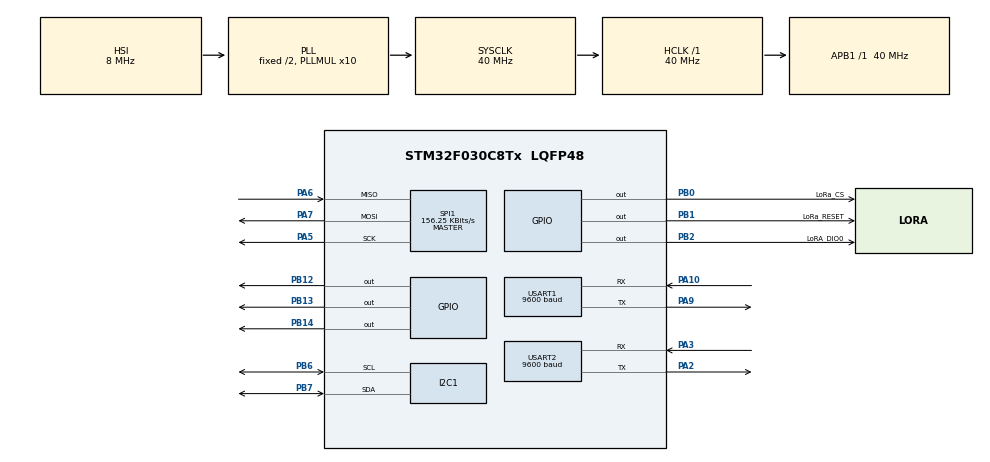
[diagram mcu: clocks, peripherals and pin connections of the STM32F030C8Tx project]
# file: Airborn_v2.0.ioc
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Dma.Request0=USART1_RX
Dma.USART1_RX.0.Direction=DMA_PERIPH_TO_MEMORY
Dma.USART1_RX.0.Instance=DMA1_Channel3
Dma.USART1_RX.0.MemDataAlignment=DMA_MDATAALIGN_BYTE
Dma.USART1_RX.0.MemInc=DMA_MINC_ENABLE
Dma.USART1_RX.0.Mode=DMA_NORMAL
Dma.USART1_RX.0.PeriphDataAlignment=DMA_PDATAALIGN_BYTE
Dma.USART1_RX.0.PeriphInc=DMA_PINC_DISABLE
Dma.USART1_RX.0.Priority=DMA_PRIORITY_LOW
IWDG.Prescaler=IWDG_PRESCALER_128
IWDG.Reload=2300
IWDG.Window=2300
Mcu.Family=STM32F0
Mcu.Name=STM32F030C8Tx
Mcu.Package=LQFP48
NVIC.DMA1_Channel2_3_IRQn=true\:0\:0\:false\:false\:true\:false\:true
NVIC.I2C1_IRQn=true\:0\:0\:false\:false\:true\:true\:true
NVIC.USART1_IRQn=true\:0\:0\:false\:false\:true\:true\:true
PA10.Mode=Asynchronous
PA10.Signal=USART1_RX
PA13.Mode=Serial_Wire
PA13.Signal=SYS_SWDIO
PA14.Mode=Serial_Wire
PA14.Signal=SYS_SWCLK
PA2.Mode=Asynchronous
PA2.Signal=USART2_TX
PA3.Mode=Asynchronous
PA3.Signal=USART2_RX
PA5.Mode=Full_Duplex_Master
PA5.Signal=SPI1_SCK
PA6.Mode=Full_Duplex_Master
PA6.Signal=SPI1_MISO
PA7.Mode=Full_Duplex_Master
PA7.Signal=SPI1_MOSI
PA9.Mode=Asynchronous
PA9.Signal=USART1_TX
PB0.GPIO_Label=LoRa_CS
PB0.Signal=GPIO_Output
PB1.GPIO_Label=LoRa_RESET
PB1.Signal=GPIO_Output
PB12.Signal=GPIO_Output
PB13.Signal=GPIO_Output
PB14.Signal=GPIO_Output
PB2.GPIO_Label=LoRA_DIO0
PB2.Signal=GPIO_Output
PB6.Mode=I2C
PB6.Signal=I2C1_SCL
PB7.Mode=I2C
PB7.Signal=I2C1_SDA
ProjectManager.HeapSize=0x200
ProjectManager.StackSize=0x400
ProjectManager.TargetToolchain=SW4STM32
RCC.AHBFreq_Value=40000000
RCC.APB1Freq_Value=40000000
RCC.APB1TimFreq_Value=40000000
RCC.HCLKFreq_Value=40000000
RCC.PLLMUL=RCC_PLL_MUL10
RCC.SYSCLKFreq_VALUE=40000000
RCC.SYSCLKSource=RCC_SYSCLKSOURCE_PLLCLK
SPI1.BaudRatePrescaler=SPI_BAUDRATEPRESCALER_256
SPI1.CalculateBaudRate=156.25 KBits/s
SPI1.DataSize=SPI_DATASIZE_8BIT
SPI1.Direction=SPI_DIRECTION_2LINES
SPI1.Mode=SPI_MODE_MASTER
SPI1.VirtualType=VM_MASTER
USART1.BaudRate=9600
USART1.VirtualMode-Asynchronous=VM_ASYNC
USART2.BaudRate=9600
USART2.VirtualMode-Asynchronous=VM_ASYNC
VP_IWDG_VS_IWDG.Mode=IWDG_Activate
board=custom

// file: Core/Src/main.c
/* USER CODE BEGIN Header */
/**
  ******************************************************************************
  * @file           : main.c
  * @brief          : Main program body
  ******************************************************************************
  * @attention
  *
  * <h2><center>&copy; Copyright (c) 2022 STMicroelectronics.
  * All rights reserved.</center></h2>
  *
  * This software component is licensed by ST under BSD 3-Clause license,
  * the "License"; You may not use this file except in compliance with the
  * License. You may obtain a copy of the License at:
  *                        opensource.org/licenses/BSD-3-Clause
  *
  ******************************************************************************
  */
/* USER CODE END Header */
#include "main.h"

/* USER CODE BEGIN Includes */
#include "string.h"
#include "stdio.h"
#include "Sx1278.h"
/* USER CODE END Includes */

/* USER CODE BEGIN PTD */
 uint8_t flag = 0;

 void HAL_UART_RxCpltCallback(UART_HandleTypeDef *huart) {

 	flag = 1;

 }

 int nmea0183_checksum(char *msg) {

 	int checksum = 0;
 	int j = 0;

 	// the first $ sign and the last two bytes of original CRC + the * sign
 	for (j = 1; j < strlen(msg) - 4; j++) {
 		checksum = checksum ^ (unsigned) msg[j];
 	}

 	return checksum;
 }
/* USER CODE END PTD */

I2C_HandleTypeDef hi2c1;

IWDG_HandleTypeDef hiwdg;

SPI_HandleTypeDef hspi1;

UART_HandleTypeDef huart1;
UART_HandleTypeDef huart2;
DMA_HandleTypeDef hdma_usart1_rx;

void SystemClock_Config(void);
static void MX_GPIO_Init(void);
static void MX_DMA_Init(void);
static void MX_I2C1_Init(void);
static void MX_SPI1_Init(void);
static void MX_USART1_UART_Init(void);
static void MX_USART2_UART_Init(void);
static void MX_IWDG_Init(void);

int main(void)
{

  /* MCU Configuration--------------------------------------------------------*/

  /* Reset of all peripherals, Initializes the Flash interface and the Systick. */
  HAL_Init();

  /* Configure the system clock */
  SystemClock_Config();

  /* Initialize all configured peripherals */
  MX_GPIO_Init();
  MX_DMA_Init();
  MX_I2C1_Init();
  MX_SPI1_Init();
  MX_USART1_UART_Init();
  MX_USART2_UART_Init();
  MX_IWDG_Init();
  /* USER CODE BEGIN 2 */

  char sendLora[19];

	uint8_t buff[255];
	uint8_t bufI2c[2] = {0xFF, 0xFF};

	char buffStr[255];
	char nmeaSnt[80];

	char *rawSum;
	char smNmbr[3];

	// The Equator has a latitude of 0°,
	//the North Pole has a latitude of 90° North (written 90° N or +90°),
	//and the South Pole has a latitude of 90° South (written 90° S or −90°)

	char *latRaw;
	char latDg[2];
	char latMS[7];
	char *hemNS;

	// longitude in degrees (0° at the Prime Meridian to +180° eastward and −180° westward)
	// that is why 3
	char *lonRaw;
	char lonDg[3];
	char lonMS[7];
	char *hemEW;

	char *utcRaw; // raw UTC time from the NMEA sentence in the hhmmss format
	char strUTC[8]; // UTC time in the readable hh:mm:ss format

	char hH[2]; // hours
	char mM[2]; // minutes
	char sS[2]; // seconds

	uint8_t cnt = 0;

		  HAL_GPIO_WritePin(GPIOB, GPIO_PIN_12, 1);
  /* USER CODE END 2 */

  /* Infinite loop */
  /* USER CODE BEGIN WHILE */
  while (1)
  {
	 // HAL_I2C_Slave_Receive_IT(&hi2c1,bufI2c, 10);
	  HAL_UART_Receive_DMA(&huart1, buff, 255);
		  if (flag == 1) { // interrupt signals that the buffer buff[300] is full

				memset(buffStr, 0, 255);

				sprintf(buffStr, "%s", buff);

				// if we want to display the incoming raw data
				//HAL_UART_Transmit(&huart2, buff, 255, 70);

				// splitting the buffStr by the "\n" delimiter with the strsep() C function
				// see http://www.manpagez.com/man/3/strsep/
				char *token, *string;

				string = strdup(buffStr);

				// actually splitting the string by "\n" delimiter
				while ((token = strsep(&string, "\n")) != NULL) {

					memset(nmeaSnt, 0, 80);

					sprintf(nmeaSnt, "%s", token);

					// selecting only $GNGLL sentences, combined GPS and GLONASS
					// on my GPS sensor this good NMEA sentence is always 50 characters
					if ((strstr(nmeaSnt, "$GNGLL") != 0)) {

						rawSum = strstr(nmeaSnt, "*");

						memcpy(smNmbr, &rawSum[1], 2);

						smNmbr[2] = '\0';

						uint8_t intSum = nmea0183_checksum(nmeaSnt);

						char hex[2];

						// "%X" unsigned hexadecimal integer (capital letters)
						sprintf(hex, "%X", intSum);

						// checksum data verification, if OK, then we can really trust
						// the data in the the NMEA sentence
						if (strstr(smNmbr, hex) != NULL) {

							//if we want display good $GNGLL NMEA sentences
						//	HAL_UART_Transmit(&huart2, nmeaSnt, 50, 70);
						//	HAL_UART_Transmit(&huart2, (uint8_t*) "\r", 1, 200);
						//	HAL_UART_Transmit(&huart2, (uint8_t*) "\n", 1, 200);

							cnt = 0;

							// splitting the good NMEA sentence into the tokens by the comma delimiter
							for (char *pV = strtok(nmeaSnt, ","); pV != NULL; pV = strtok(NULL, ",")) {

								switch (cnt) {
								case 1:
									latRaw = strdup(pV);
									break;
								case 2:
									hemNS = strdup(pV);
									break;
								case 3:
									lonRaw = strdup(pV);
									break;
								case 4:
									hemEW = strdup(pV);
									break;
								case 5:
									utcRaw = strdup(pV);
									break;
								}

								cnt++;

							}  // end for()

							memcpy(latDg, &latRaw[0], 2);
							latDg[2] = '\0';

							memcpy(latMS, &latRaw[2], 7);
							latMS[7] = '\0';

							memcpy(lonDg, &lonRaw[0], 3);
							lonDg[3] = '\0';

							memcpy(lonMS, &lonRaw[3], 7);
							lonMS[7] = '\0';
							char strLonMS[7];
							sprintf(strLonMS, "%s", lonMS);

							HAL_UART_Transmit(&huart2, (uint8_t*) latDg, 2, 200);

							HAL_UART_Transmit(&huart2, (uint8_t*) latMS, 7, 200);

							HAL_UART_Transmit(&huart2, (uint8_t*) " ", 1, 200);
							HAL_UART_Transmit(&huart2, (uint8_t*) lonDg, 3, 200);

							HAL_UART_Transmit(&huart2, (uint8_t*) strLonMS, 7, 200);

							HAL_UART_Transmit(&huart2, (uint8_t*) "\r", 1, 200);
							HAL_UART_Transmit(&huart2, (uint8_t*) "\n", 1, 200);

						sendLora[0] = latDg[0];
						sendLora[1] = latDg[1];
						sendLora[2] = latMS[0];
						sendLora[3] = latMS[1];
						sendLora[4] = latMS[2];
						sendLora[5] = latMS[3];
						sendLora[6] = latMS[4];
						sendLora[7] = latMS[5];
						sendLora[8] = latMS[6];
						sendLora[9] = lonDg[0];
						sendLora[10] = lonDg[1];
						sendLora[11] = lonDg[2];
						sendLora[12] = strLonMS[0];
						sendLora[13] = strLonMS[1];
						sendLora[14] = strLonMS[2];
						sendLora[15] = strLonMS[3];
						sendLora[16] = strLonMS[4];
						sendLora[17] = strLonMS[5];
						sendLora[18] = strLonMS[6];

						} // end of of the checksum data verification

					} // end of $GNGLL sentences selection

				} // end of splitting the buffStr by the "\n" delimiter with the strsep() C function

				flag = 0; // we are ready to get new data from the sensor

			} // end of one interrupt/full-buffer cycle

									initTx(19);
									LoRaTransmit((uint8_t*) sendLora, 19);

			HAL_Delay(100);

		                              		 // end of one interrupt/full-buffer cycle

    /* USER CODE END WHILE */

  }
}

void SystemClock_Config(void)
{
  RCC_OscInitTypeDef RCC_OscInitStruct = {0};
  RCC_ClkInitTypeDef RCC_ClkInitStruct = {0};
  RCC_PeriphCLKInitTypeDef PeriphClkInit = {0};

  /** Initializes the RCC Oscillators according to the specified parameters
  * in the RCC_OscInitTypeDef structure.
  */
  RCC_OscInitStruct.OscillatorType = RCC_OSCILLATORTYPE_HSI|RCC_OSCILLATORTYPE_LSI;
  RCC_OscInitStruct.HSIState = RCC_HSI_ON;
  RCC_OscInitStruct.HSICalibrationValue = RCC_HSICALIBRATION_DEFAULT;
  RCC_OscInitStruct.LSIState = RCC_LSI_ON;
  RCC_OscInitStruct.PLL.PLLState = RCC_PLL_ON;
  RCC_OscInitStruct.PLL.PLLSource = RCC_PLLSOURCE_HSI;
  RCC_OscInitStruct.PLL.PLLMUL = RCC_PLL_MUL10;
  RCC_OscInitStruct.PLL.PREDIV = RCC_PREDIV_DIV1;
  if (HAL_RCC_OscConfig(&RCC_OscInitStruct) != HAL_OK)
  {
    Error_Handler();
  }
  /** Initializes the CPU, AHB and APB buses clocks
  */
  RCC_ClkInitStruct.ClockType = RCC_CLOCKTYPE_HCLK|RCC_CLOCKTYPE_SYSCLK
                              |RCC_CLOCKTYPE_PCLK1;
  RCC_ClkInitStruct.SYSCLKSource = RCC_SYSCLKSOURCE_PLLCLK;
  RCC_ClkInitStruct.AHBCLKDivider = RCC_SYSCLK_DIV1;
  RCC_ClkInitStruct.APB1CLKDivider = RCC_HCLK_DIV1;

  if (HAL_RCC_ClockConfig(&RCC_ClkInitStruct, FLASH_LATENCY_1) != HAL_OK)
  {
    Error_Handler();
  }
  PeriphClkInit.PeriphClockSelection = RCC_PERIPHCLK_USART1|RCC_PERIPHCLK_I2C1;
  PeriphClkInit.Usart1ClockSelection = RCC_USART1CLKSOURCE_PCLK1;
  PeriphClkInit.I2c1ClockSelection = RCC_I2C1CLKSOURCE_HSI;
  if (HAL_RCCEx_PeriphCLKConfig(&PeriphClkInit) != HAL_OK)
  {
    Error_Handler();
  }
}

static void MX_I2C1_Init(void)
{

  hi2c1.Instance = I2C1;
  hi2c1.Init.Timing = 0x2000090E;
  hi2c1.Init.OwnAddress1 = 0x22;
  hi2c1.Init.AddressingMode = I2C_ADDRESSINGMODE_7BIT;
  hi2c1.Init.DualAddressMode = I2C_DUALADDRESS_DISABLE;
  hi2c1.Init.OwnAddress2 = 0;
  hi2c1.Init.OwnAddress2Masks = I2C_OA2_NOMASK;
  hi2c1.Init.GeneralCallMode = I2C_GENERALCALL_DISABLE;
  hi2c1.Init.NoStretchMode = I2C_NOSTRETCH_DISABLE;
  if (HAL_I2C_Init(&hi2c1) != HAL_OK)
  {
    Error_Handler();
  }
  /** Configure Analogue filter
  */
  if (HAL_I2CEx_ConfigAnalogFilter(&hi2c1, I2C_ANALOGFILTER_ENABLE) != HAL_OK)
  {
    Error_Handler();
  }
  /** Configure Digital filter
  */
  if (HAL_I2CEx_ConfigDigitalFilter(&hi2c1, 0) != HAL_OK)
  {
    Error_Handler();
  }

}

static void MX_IWDG_Init(void)
{

  hiwdg.Instance = IWDG;
  hiwdg.Init.Prescaler = IWDG_PRESCALER_128;
  hiwdg.Init.Window = 2300;
  hiwdg.Init.Reload = 2300;
  if (HAL_IWDG_Init(&hiwdg) != HAL_OK)
  {
    Error_Handler();
  }

}

static void MX_SPI1_Init(void)
{

  /* SPI1 parameter configuration*/
  hspi1.Instance = SPI1;
  hspi1.Init.Mode = SPI_MODE_MASTER;
  hspi1.Init.Direction = SPI_DIRECTION_2LINES;
  hspi1.Init.DataSize = SPI_DATASIZE_8BIT;
  hspi1.Init.CLKPolarity = SPI_POLARITY_LOW;
  hspi1.Init.CLKPhase = SPI_PHASE_1EDGE;
  hspi1.Init.NSS = SPI_NSS_SOFT;
  hspi1.Init.BaudRatePrescaler = SPI_BAUDRATEPRESCALER_256;
  hspi1.Init.FirstBit = SPI_FIRSTBIT_MSB;
  hspi1.Init.TIMode = SPI_TIMODE_DISABLE;
  hspi1.Init.CRCCalculation = SPI_CRCCALCULATION_DISABLE;
  hspi1.Init.CRCPolynomial = 7;
  hspi1.Init.CRCLength = SPI_CRC_LENGTH_DATASIZE;
  hspi1.Init.NSSPMode = SPI_NSS_PULSE_ENABLE;
  if (HAL_SPI_Init(&hspi1) != HAL_OK)
  {
    Error_Handler();
  }

}

static void MX_USART1_UART_Init(void)
{

  huart1.Instance = USART1;
  huart1.Init.BaudRate = 9600;
  huart1.Init.WordLength = UART_WORDLENGTH_8B;
  huart1.Init.StopBits = UART_STOPBITS_1;
  huart1.Init.Parity = UART_PARITY_NONE;
  huart1.Init.Mode = UART_MODE_TX_RX;
  huart1.Init.HwFlowCtl = UART_HWCONTROL_NONE;
  huart1.Init.OverSampling = UART_OVERSAMPLING_16;
  huart1.Init.OneBitSampling = UART_ONE_BIT_SAMPLE_DISABLE;
  huart1.AdvancedInit.AdvFeatureInit = UART_ADVFEATURE_NO_INIT;
  if (HAL_UART_Init(&huart1) != HAL_OK)
  {
    Error_Handler();
  }

}

static void MX_USART2_UART_Init(void)
{

  huart2.Instance = USART2;
  huart2.Init.BaudRate = 9600;
  huart2.Init.WordLength = UART_WORDLENGTH_8B;
  huart2.Init.StopBits = UART_STOPBITS_1;
  huart2.Init.Parity = UART_PARITY_NONE;
  huart2.Init.Mode = UART_MODE_TX_RX;
  huart2.Init.HwFlowCtl = UART_HWCONTROL_NONE;
  huart2.Init.OverSampling = UART_OVERSAMPLING_16;
  huart2.Init.OneBitSampling = UART_ONE_BIT_SAMPLE_DISABLE;
  huart2.AdvancedInit.AdvFeatureInit = UART_ADVFEATURE_NO_INIT;
  if (HAL_UART_Init(&huart2) != HAL_OK)
  {
    Error_Handler();
  }

}

static void MX_DMA_Init(void)
{

  /* DMA controller clock enable */
  __HAL_RCC_DMA1_CLK_ENABLE();

  /* DMA interrupt init */
  /* DMA1_Channel2_3_IRQn interrupt configuration */
  HAL_NVIC_SetPriority(DMA1_Channel2_3_IRQn, 0, 0);
  HAL_NVIC_EnableIRQ(DMA1_Channel2_3_IRQn);

}

static void MX_GPIO_Init(void)
{
  GPIO_InitTypeDef GPIO_InitStruct = {0};

  /* GPIO Ports Clock Enable */
  __HAL_RCC_GPIOA_CLK_ENABLE();
  __HAL_RCC_GPIOB_CLK_ENABLE();

  /*Configure GPIO pin Output Level */
  HAL_GPIO_WritePin(GPIOB, LoRa_CS_Pin|LoRa_RESET_Pin|LoRA_DIO0_Pin|GPIO_PIN_12
                          |GPIO_PIN_13|GPIO_PIN_14, GPIO_PIN_RESET);

  /*Configure GPIO pins : LoRa_CS_Pin LoRa_RESET_Pin LoRA_DIO0_Pin PB12
                           PB13 PB14 */
  GPIO_InitStruct.Pin = LoRa_CS_Pin|LoRa_RESET_Pin|LoRA_DIO0_Pin|GPIO_PIN_12
                          |GPIO_PIN_13|GPIO_PIN_14;
  GPIO_InitStruct.Mode = GPIO_MODE_OUTPUT_PP;
  GPIO_InitStruct.Pull = GPIO_NOPULL;
  GPIO_InitStruct.Speed = GPIO_SPEED_FREQ_LOW;
  HAL_GPIO_Init(GPIOB, &GPIO_InitStruct);

}

void Error_Handler(void)
{
  __disable_irq();
  while (1)
  {
  }
}

/************************ (C) COPYRIGHT STMicroelectronics *****END OF FILE****/
